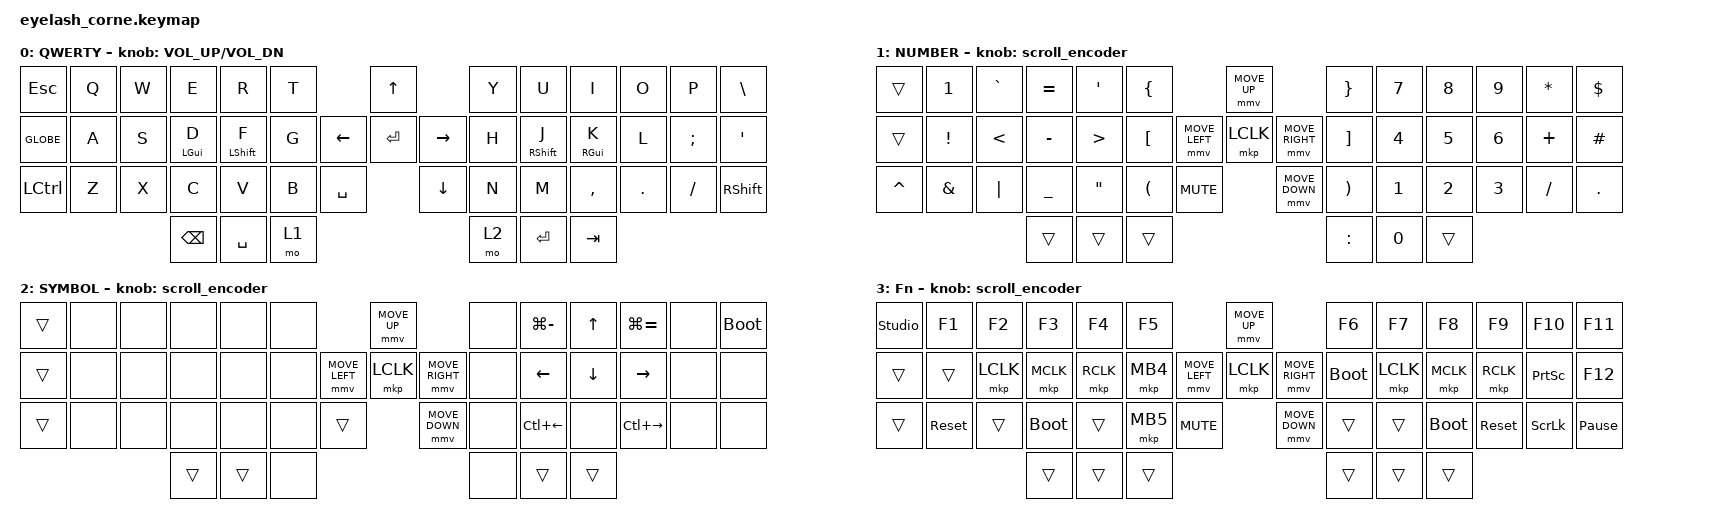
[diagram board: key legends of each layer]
#define ZMK_POINTING_DEFAULT_MOVE_VAL 1200  // 600
#define ZMK_POINTING_DEFAULT_SCRL_VAL 25   // 10

#include <input/processors.dtsi>
#include <zephyr/dt-bindings/input/input-event-codes.h>
#include <behaviors.dtsi>
#include <dt-bindings/zmk/keys.h>
#include <dt-bindings/zmk/pointing.h>
#include <dt-bindings/zmk/rgb.h>

&mmv_input_listener { input-processors = <&zip_xy_scaler 2 1>; };

&msc_input_listener { input-processors = <&zip_scroll_scaler 2 1>; };

&msc {
    acceleration-exponent = <1>;      // 0
    time-to-max-speed-ms = <100>;       // 300
    delay-ms = <0>;                   // 0
};

&mmv {
    time-to-max-speed-ms = <500>;
    acceleration-exponent = <1>;
    trigger-period-ms = <16>;
};

&soft_off { hold-time-ms = <2000>; };

/ {
    behaviors {
        td0: td0 {
            compatible = "zmk,behavior-tap-dance";
            display-name = "Shift/Caps Lock Tap Dance";
            #binding-cells = <0>;
            bindings = <&kp LEFT_SHIFT>, <&kp CAPS>;
        };
    };

    rgb_encoder: rgb_encoder {
        compatible = "zmk,behavior-sensor-rotate";
        #sensor-binding-cells = <0>;
        bindings = <&rgb_ug RGB_BRI>, <&rgb_ug RGB_BRD>;
    };

    scroll_encoder: scroll_encoder {
        compatible = "zmk,behavior-sensor-rotate";
        #sensor-binding-cells = <0>;
        bindings = <&msc SCRL_DOWN>, <&msc SCRL_UP>;

        tap-ms = <100>;
    };

    combos {
        compatible = "zmk,combos";

        softoff {
            bindings = <&soft_off>;
            key-positions = <1 15 29>;
        };
    };

    keymap {
        compatible = "zmk,keymap";

        default_layer {
            display-name = "QWERTY";
            bindings = <
&kp ESC    &kp Q  &kp W  &kp E          &kp R             &kp T                         &kp UP                &kp Y  &kp U         &kp I            &kp O    &kp P     &kp BACKSLASH
&kp GLOBE  &kp A  &kp S  &mt LGUI D     &mt LEFT_SHIFT F  &kp G               &kp LEFT  &kp ENTER  &kp RIGHT  &kp H  &mt RSHIFT J  &mt RIGHT_GUI K  &kp L    &kp SEMI  &kp SQT
&kp LCTRL  &kp Z  &kp X  &kp C          &kp V             &kp B  &kp SPACE              &kp DOWN              &kp N  &kp M         &kp COMMA        &kp DOT  &kp FSLH  &kp RIGHT_SHIFT
                         &kp BACKSPACE  &kp SPACE         &mo 1                                               &mo 2  &kp ENTER     &kp TAB
            >;

            sensor-bindings = <&inc_dec_kp C_VOLUME_UP C_VOL_DN>;
        };

        lower_layer {
            display-name = "NUMBER";
            bindings = <
&trans     &kp N1           &kp GRAVE      &kp EQUAL       &kp SINGLE_QUOTE   &kp LEFT_BRACE                                      &mmv MOVE_UP                     &kp RIGHT_BRACE        &kp N7        &kp N8        &kp N9        &kp STAR   &kp DOLLAR
&trans     &kp EXCLAMATION  &kp LESS_THAN  &kp MINUS       &kp GREATER_THAN   &kp LEFT_BRACKET                    &mmv MOVE_LEFT  &mkp LCLK       &mmv MOVE_RIGHT  &kp RIGHT_BRACKET      &kp NUMBER_4  &kp NUMBER_5  &kp NUMBER_6  &kp PLUS   &kp POUND
&kp CARET  &kp AMPERSAND    &kp PIPE       &kp UNDERSCORE  &kp DOUBLE_QUOTES  &kp LEFT_PARENTHESIS  &kp C_MUTE                    &mmv MOVE_DOWN                   &kp RIGHT_PARENTHESIS  &kp NUMBER_1  &kp NUMBER_2  &kp NUMBER_3  &kp SLASH  &kp PERIOD
                                           &trans          &trans             &trans                                                                               &kp COLON              &kp NUMBER_0  &trans
            >;

            sensor-bindings = <&scroll_encoder>;
        };

        raise_layer {
            display-name = "SYMBOL";
            bindings = <
&trans  &none  &none  &none   &none   &none                            &mmv MOVE_UP                     &none  &kp LG(MINUS)  &kp UP    &kp LG(EQUAL)  &none  &bootloader
&trans  &none  &none  &none   &none   &none            &mmv MOVE_LEFT  &mkp LCLK       &mmv MOVE_RIGHT  &none  &kp LEFT       &kp DOWN  &kp RIGHT      &none  &none
&trans  &none  &none  &none   &none   &none  &trans                    &mmv MOVE_DOWN                   &none  &kp LC(LEFT)   &none     &kp LC(RIGHT)  &none  &none
                      &trans  &trans  &none                                                             &none  &trans         &trans
            >;

            sensor-bindings = <&scroll_encoder>;
        };

        layer_3 {
            display-name = "Fn";
            bindings = <
&studio_unlock  &kp F1      &kp F2     &kp F3       &kp F4     &kp F5                                  &mmv MOVE_UP                     &kp F6       &kp F7     &kp F8       &kp F9      &kp F10          &kp F11
&trans          &trans      &mkp LCLK  &mkp MCLK    &mkp RCLK  &mkp MB4                &mmv MOVE_LEFT  &mkp LCLK       &mmv MOVE_RIGHT  &bootloader  &mkp LCLK  &mkp MCLK    &mkp RCLK   &kp PRINTSCREEN  &kp F12
&trans          &sys_reset  &trans     &bootloader  &trans     &mkp MB5  &kp C_MUTE                    &mmv MOVE_DOWN                   &trans       &trans     &bootloader  &sys_reset  &kp SCROLLLOCK   &kp PAUSE_BREAK
                                       &trans       &trans     &trans                                                                   &trans       &trans     &trans
            >;

            sensor-bindings = <&scroll_encoder>;
        };
    };
};
